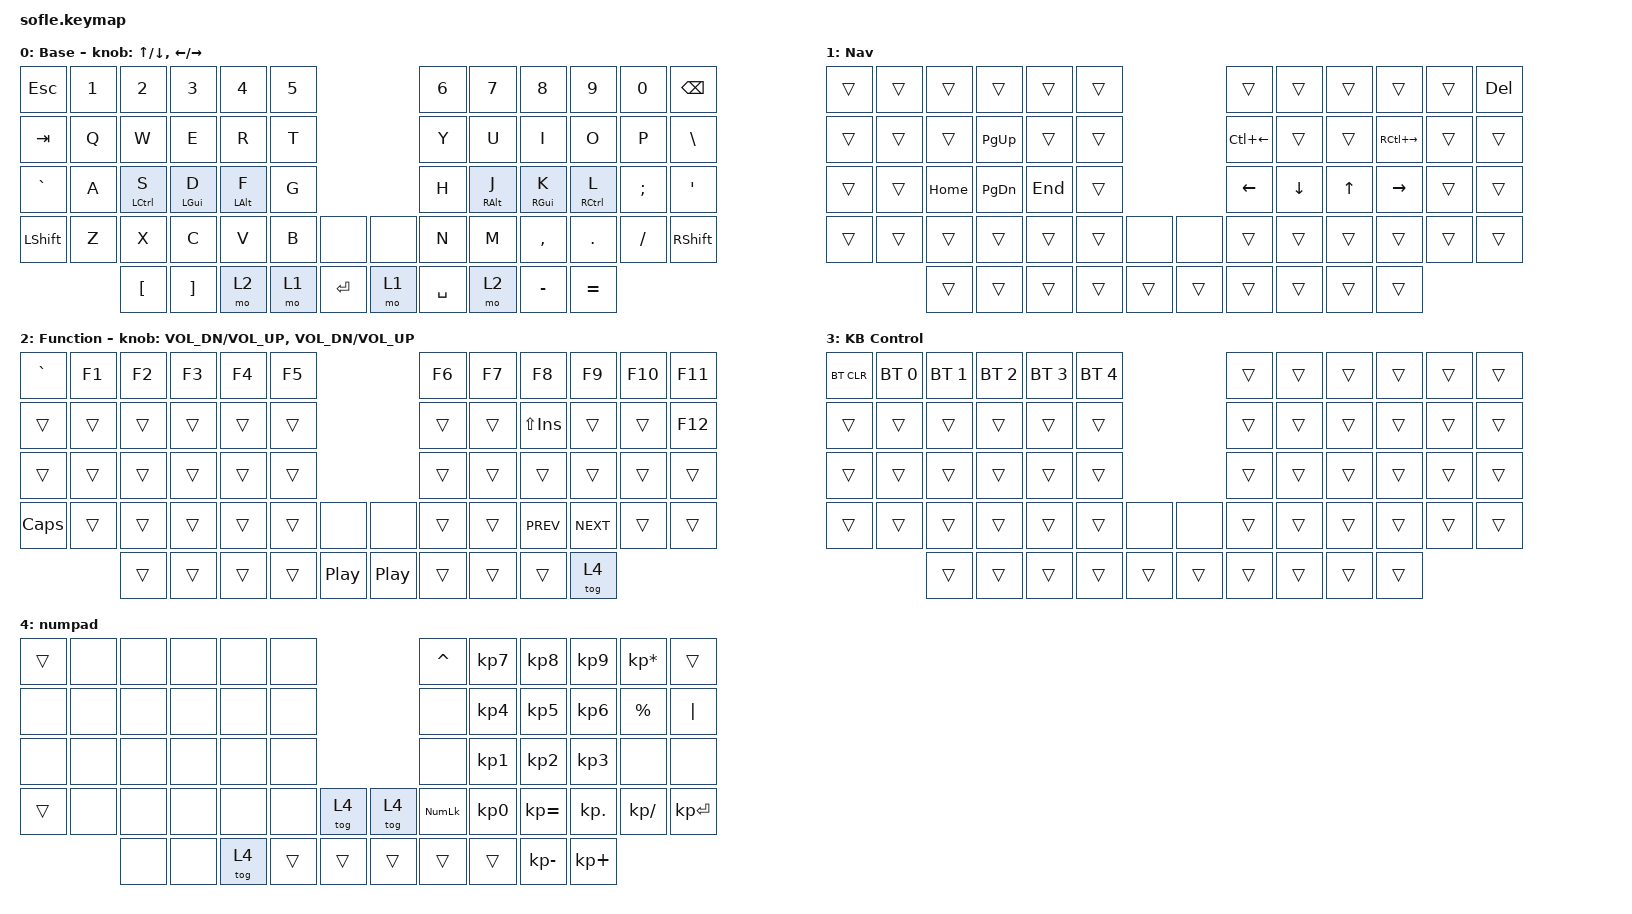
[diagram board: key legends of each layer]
/*
 * Copyright (c) 2020 The ZMK Contributors
 *
 * SPDX-License-Identifier: MIT
 */

#include <behaviors.dtsi>
#include <dt-bindings/zmk/keys.h>
#include <dt-bindings/zmk/bt.h>
#include <dt-bindings/zmk/rgb.h>
#include <dt-bindings/zmk/ext_power.h>


/ {

   // Activate ADJUST layer by pressing raise and lower
    conditional_layers {
        compatible = "zmk,conditional-layers";
        adjust_layer {
            if-layers = <1 2>;
            then-layer = <3>;
        };
    };

    keymap {
        compatible = "zmk,keymap";

        default_layer {
            display-name = "Base";
// ------------------------------------------------------------------------------------------------------------
// |   `   |  1  |  2  |  3   |  4   |  5   |                   |  6   |  7    |  8    |  9   |   0   |       |
// |  ESC  |  Q  |  W  |  E   |  R   |  T   |                   |  Y   |  U    |  I    |  O   |   P   | BKSPC |
// |  TAB  |  A  |  S  |  D   |  F   |  G   |                   |  H   |  J    |  K    |  L   |   ;   |   '   |
// | SHIFT |  Z  |  X  |  C   |  V   |  B   |  MUTE  |  |       |  N   |  M    |  ,    |  .   |   /   | SHIFT |
//               | GUI | ALT  | CTRL | LOWER|  ENTER |  | SPACE | RAISE| CTRL  | ALT   | GUI  |
            bindings = <
&kp ESC   &kp N1 &kp N2       &kp N3        &kp N4        &kp N5                             &kp N6 &kp N7        &kp N8         &kp N9        &kp N0   &kp BSPC
&kp TAB   &kp Q  &kp W        &kp E         &kp R         &kp T                              &kp Y  &kp U         &kp I          &kp O         &kp P    &kp BSLH
&kp GRAVE &kp A  &mt LCTRL S  &mt LGUI D    &mt LALT F    &kp G                              &kp H  &mt RALT J    &mt RGUI K     &mt RCTRL L   &kp SEMI &kp SQT
&kp LSHFT &kp Z  &kp X        &kp C         &kp V         &kp B  &none                &none  &kp N  &kp M         &kp COMMA      &kp DOT       &kp FSLH &kp RSHFT
                 &kp LBKT     &kp RBKT      &mo 2         &mo 1  &kp RET              &mo 1  &kp SPACE  &mo 2     &kp MINUS      &kp EQUAL
            >;

            sensor-bindings = <&inc_dec_kp UP DOWN &inc_dec_kp LEFT RIGHT>;
        };
        nav_layer { // 1
            display-name = "Nav";
            bindings = <
&trans    &trans    &trans    &trans    &trans    &trans                          &trans    &trans    &trans    &trans    &trans    &kp DEL
&trans    &trans    &trans &kp PG_UP    &trans    &trans                          &kp LC(LEFT) &trans &trans    &kp RC(RIGHT) &trans &trans
&trans    &trans    &kp HOME  &kp PG_DN &kp END   &trans                          &kp LEFT  &kp DOWN  &kp UP    &kp RIGHT &trans    &trans
&trans    &trans    &trans    &trans    &trans    &trans    &none       &none     &trans    &trans    &trans    &trans    &trans    &trans
                    &trans    &trans    &trans    &trans    &trans      &trans    &trans    &trans    &trans    &trans 
            >;
        };


         func_layer { // 2
            display-name = "Function";
            bindings = <
&kp GRAVE &kp F1    &kp F2    &kp F3        &kp F4        &kp F5                          &kp F6    &kp F7    &kp F8    &kp F9    &kp F10   &kp F11
&trans    &trans    &trans    &trans        &trans        &trans                          &trans    &trans  &kp LS(INS) &trans    &trans    &kp F12 
&trans    &trans    &trans    &trans        &trans        &trans                          &trans    &trans    &trans    &trans    &trans    &trans
&kp CAPS  &trans    &trans    &trans        &trans        &trans    &none       &none     &trans    &trans    &kp C_PREV &kp C_NEXT &trans  &trans
                    &trans    &trans        &trans        &trans    &kp C_PP    &kp C_PP  &trans    &trans    &trans    &tog 4
            >;
            sensor-bindings = <&inc_dec_kp K_VOL_DN K_VOL_UP &inc_dec_kp K_VOL_DN K_VOL_UP>;
        }; 

         kbcontrol_layer { // 3
            display-name = "KB Control";
            bindings = <
&bt BT_CLR &bt BT_SEL 0 &bt BT_SEL 1 &bt BT_SEL 2 &bt BT_SEL 3 &bt BT_SEL 4       &trans    &trans    &trans    &trans    &trans    &trans 
&trans    &trans    &trans    &trans    &trans    &trans                          &trans    &trans    &trans    &trans    &trans    &trans
&trans    &trans    &trans    &trans    &trans    &trans                          &trans    &trans    &trans    &trans    &trans    &trans
&trans    &trans    &trans    &trans    &trans    &trans    &none       &none     &trans    &trans    &trans    &trans    &trans    &trans 
                    &trans    &trans    &trans    &trans    &trans      &trans    &trans    &trans    &trans    &trans 
            >;
        }; 

         numpad_layer { // 4
            display-name = "numpad";
            bindings = <
&trans    &none     &none     &none     &none     &none                            &kp CARET &kp KP_N7 &kp KP_N8 &kp KP_N9 &kp KP_ASTERISK &trans
&none     &none     &none     &none     &none     &none                            &none     &kp KP_N4 &kp KP_N5 &kp KP_N6 &kp PRCNT &kp PIPE
&none     &none     &none     &none     &none     &none                            &none     &kp KP_N1 &kp KP_N2 &kp KP_N3 &none     &none   
&trans    &none     &none     &none     &none     &none     &tog 4      &tog 4     &kp KP_NUM &kp KP_N0 &kp KP_EQUAL &kp KP_DOT &kp KP_SLASH &kp KP_ENTER
                    &none     &none     &tog 4    &trans    &trans      &trans     &trans    &trans    &kp KP_MINUS &kp KP_PLUS 
            >;
        };     


    };
};
&mt {
    flavor = "tap-preferred";
    require-prior-idle-ms = <125>;
};
